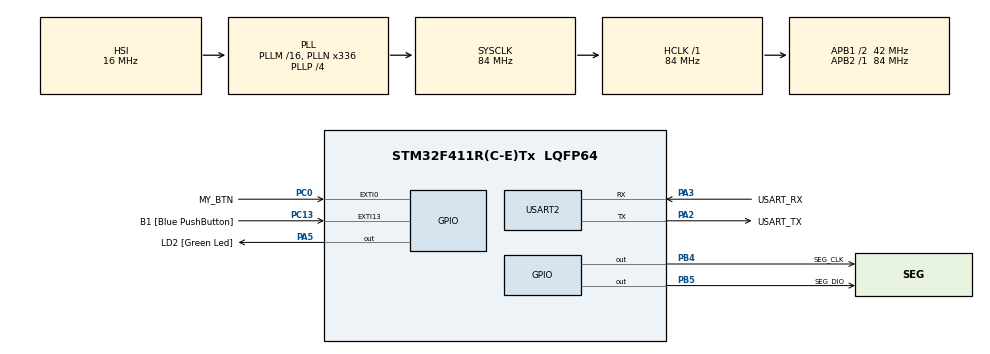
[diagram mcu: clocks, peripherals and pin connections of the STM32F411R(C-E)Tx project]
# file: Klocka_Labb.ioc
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Mcu.Family=STM32F4
Mcu.Name=STM32F411R(C-E)Tx
Mcu.Package=LQFP64
NVIC.EXTI0_IRQn=true\:0\:0\:false\:false\:true\:true\:true\:true
NVIC.PriorityGroup=NVIC_PRIORITYGROUP_0
NVIC.TIM1_BRK_TIM9_IRQn=true\:0\:0\:false\:false\:true\:true\:true\:true
PA13.GPIO_Label=TMS
PA13.Mode=Serial_Wire
PA13.Signal=SYS_JTMS-SWDIO
PA14.GPIO_Label=TCK
PA14.Mode=Serial_Wire
PA14.Signal=SYS_JTCK-SWCLK
PA2.GPIO_Label=USART_TX
PA2.Mode=Asynchronous
PA2.Signal=USART2_TX
PA3.GPIO_Label=USART_RX
PA3.Mode=Asynchronous
PA3.Signal=USART2_RX
PA5.GPIO_Label=LD2 [Green Led]
PA5.Signal=GPIO_Output
PB3.GPIO_Label=SWO
PB3.Signal=SYS_JTDO-SWO
PB4.GPIO_Label=SEG_CLK
PB4.Signal=GPIO_Output
PB5.GPIO_Label=SEG_DIO
PB5.GPIO_ModeDefaultOutputPP=GPIO_MODE_OUTPUT_OD
PB5.GPIO_PuPd=GPIO_NOPULL
PB5.Signal=GPIO_Output
PC0.GPIO_Label=MY_BTN
PC0.GPIO_ModeDefaultEXTI=GPIO_MODE_IT_FALLING
PC0.Signal=GPXTI0
PC13-ANTI_TAMP.GPIO_Label=B1 [Blue PushButton]
PC13-ANTI_TAMP.GPIO_ModeDefaultEXTI=GPIO_MODE_IT_FALLING
PC13-ANTI_TAMP.Signal=GPXTI13
PC14-OSC32_IN.Mode=LSE-External-Oscillator
PC14-OSC32_IN.Signal=RCC_OSC32_IN
PC15-OSC32_OUT.Mode=LSE-External-Oscillator
PC15-OSC32_OUT.Signal=RCC_OSC32_OUT
PH0\ -\ OSC_IN.Mode=HSE-External-Clock-Source
PH0\ -\ OSC_IN.Signal=RCC_OSC_IN
PH1\ -\ OSC_OUT.Mode=HSE-External-Clock-Source
PH1\ -\ OSC_OUT.Signal=RCC_OSC_OUT
ProjectManager.HeapSize=0x200
ProjectManager.StackSize=0x400
ProjectManager.TargetToolchain=STM32CubeIDE
RCC.48MHZClocksFreq_Value=84000000
RCC.AHBFreq_Value=84000000
RCC.APB1CLKDivider=RCC_HCLK_DIV2
RCC.APB1Freq_Value=42000000
RCC.APB1TimFreq_Value=84000000
RCC.APB2Freq_Value=84000000
RCC.APB2TimFreq_Value=84000000
RCC.CortexFreq_Value=84000000
RCC.FLatency-AdvancedSettings=FLASH_LATENCY_2
RCC.HCLKFreq_Value=84000000
RCC.HSE_VALUE=8000000
RCC.HSI_VALUE=16000000
RCC.PLLN=336
RCC.PLLP=RCC_PLLP_DIV4
RCC.SYSCLKFreq_VALUE=84000000
RCC.SYSCLKSource=RCC_SYSCLKSOURCE_PLLCLK
RCC.VCOOutputFreq_Value=336000000
TIM9.Period=1000-1
TIM9.Prescaler=42000-1
USART2.VirtualMode=VM_ASYNC
VP_TIM9_VS_ClockSourceINT.Mode=Internal
board=NUCLEO-F411RE

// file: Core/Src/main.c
/* USER CODE BEGIN Header */
/**
  ******************************************************************************
  * @file           : main.c
  * @brief          : Main program body
  ******************************************************************************
  * @attention
  *
  * Copyright (c) 2023 STMicroelectronics.
  * All rights reserved.
  *
  * This software is licensed under terms that can be found in the LICENSE file
  * in the root directory of this software component.
  * If no LICENSE file comes with this software, it is provided AS-IS.
  *
  ******************************************************************************
  */
/* USER CODE END Header */
#include "main.h"

/* USER CODE BEGIN Includes */
#include "quad_sseg.h"
#include <stdio.h>
/* USER CODE END Includes */

/* USER CODE BEGIN PTD */
UART_HandleTypeDef huart2;
/* USER CODE END PTD */

/* USER CODE BEGIN PD */
#ifdef __GNUC__
#define PUTCHAR_PROTOTYPE int __io_putchar(int ch)
#else
#define PUTCHAR_PROTOTYPE int fputc(int ch, FILE *f)
#endif
PUTCHAR_PROTOTYPE
{
HAL_UART_Transmit(&huart2, (uint8_t *)&ch, 1, HAL_MAX_DELAY);
return ch;
}
/* USER CODE END PD */

TIM_HandleTypeDef htim9;

UART_HandleTypeDef huart2;

/* USER CODE BEGIN PV */
uint16_t button_exti_count;
uint16_t button_debounced_count;
uint16_t flag;
uint32_t last_flank_causing_exti;
uint8_t secondsOnes = 0;
uint8_t secondsTens = 0;
uint8_t minutesOnes = 9;
uint8_t minutesTens = 5;
uint8_t hoursOnes = 3;
uint8_t hoursTens = 2;
uint8_t colonFlicker = 0;
int freq_counter = 0;
/* USER CODE END PV */

void SystemClock_Config(void);
static void MX_GPIO_Init(void);
static void MX_USART2_UART_Init(void);
static void MX_TIM9_Init(void);
/* USER CODE BEGIN PFP */
int uart_get_menu_choice();
void uart_print_menu();
void uart_print_bad_choice();
void clock_mode();
void button_mode();
/* USER CODE END PFP */

/* USER CODE BEGIN 0 */

void HAL_GPIO_EXTI_Callback(uint16_t GPIO_Pin)
{
	button_exti_count++;
	last_flank_causing_exti = HAL_GetTick();
	flag = 1; //set flag to 1 to flag an unhandled_exti
}

void HAL_TIM_PeriodElapsedCallback(TIM_HandleTypeDef *htim){
	freq_counter++;
	colonFlicker = 1;
	if (freq_counter >= 2){
		freq_counter = 0;
		colonFlicker = 0;
		secondsOnes++;
	}

	if (secondsOnes > 9){
		secondsOnes = 0;
		secondsTens++;
	}
	if (secondsTens > 5){
		secondsTens = 0;
		minutesOnes++;
	}
	if (minutesOnes > 9){
		minutesOnes = 0;
		minutesTens++;
	}
	if (minutesTens > 5){
		minutesTens = 0;
		hoursOnes++;
	}
	if(hoursOnes > 9){
		hoursOnes = 0;
		hoursTens++;
	}
	if((hoursOnes == 4) & (hoursTens == 2)){
		hoursOnes = 0;
		hoursTens = 0;
	}
	/*
	secondsTens = 0;
	minuteOnes = 8;
	minutesTens = 5;
	hoursOnes = 2;
	hoursTens = 3;
	*/
}

int uart_get_menu_choice(){
	char str[1] = { '\0'};
	uint16_t str_len = 1;
	HAL_UART_Receive(&huart2, (uint8_t *)str, str_len, HAL_MAX_DELAY);
	int ret = -1;
	sscanf(str, "%d", &ret);
	return ret;
}
void uart_print_menu(){
	printf("Choose an option, bro.\r\n");
	printf("Enter 1 for Clock mode.\r\n");
	printf("Enter 2 for Button mode.\r\n");
}
void uart_print_bad_choice(){
	printf("%s", "Did you fat finger your option? Choose 1 or 2.\r\n");
}
void clock_mode(){
	/* init segment */
	//qs_put_digits(1,2,3,4,0); 1 är första siffran, 2 andra osv, 0 är :
	//mm:ss
	//qs_put_digits(5,9,0,0,0);
	//hh:mm
	//qs_put_digits(2,3,5,6,0);
	/* main loop */
	HAL_TIM_Base_Start_IT(&htim9);
	//HAL_TIM_PeriodElapsedCallback(&htim9);
	//start time
	int b1_pressed;
	while(1){
		/*
		b1_pressed = GPIO_PIN_RESET
						== HAL_GPIO_ReadPin(B1_GPIO_Port, B1_Pin);
				qs_put_digits(b1_pressed ? 1 2, 3, 4, 1,
											: 4, 3, 2, 1, 1 ); dont work :(*/
		b1_pressed = GPIO_PIN_RESET
								== HAL_GPIO_ReadPin(B1_GPIO_Port, B1_Pin);
		if (b1_pressed) {
		    qs_put_digits(hoursTens, hoursOnes, minutesTens, minutesOnes, colonFlicker);
		} else {
		    qs_put_digits(minutesTens, minutesOnes, secondsTens, secondsOnes, colonFlicker);
		}
		//do something

	}
}
void button_mode(){
	/* init segment */
	/* main loop */
	int b1_pressed;
	int pressed;
	while(1){
		//deal with debouncing the button
		//check b1 button (on board, active low)
		uint32_t current_tick = HAL_GetTick();
		b1_pressed = GPIO_PIN_RESET
				== HAL_GPIO_ReadPin(B1_GPIO_Port, B1_Pin);
		qs_put_big_num(b1_pressed ? button_exti_count
									: button_debounced_count);
		if (flag)
		{
			if(current_tick - last_flank_causing_exti >= 50) //50 is value measured by probing
			pressed = GPIO_PIN_RESET
					== HAL_GPIO_ReadPin(MY_BTN_GPIO_Port, MY_BTN_Pin);
			if(pressed)
			{
				button_debounced_count++;
			}
			flag = 0; //makes sure we dont go back into the if case of the flag
			//so we dont need to reset the last_flank variable
		}
	}
}
/* USER CODE END 0 */

int main(void)
{

  /* MCU Configuration--------------------------------------------------------*/

  /* Reset of all peripherals, Initializes the Flash interface and the Systick. */
  HAL_Init();

  /* Configure the system clock */
  SystemClock_Config();

  /* Initialize all configured peripherals */
  MX_GPIO_Init();
  MX_USART2_UART_Init();
  MX_TIM9_Init();

  /* Infinite loop */
  /* USER CODE BEGIN WHILE */
  while (1)
  {
	  /*
	  for (int i = 0; i < 10; i++)
	  {
		  uint32_t dly = 250;
		  qs_put_big_num(i); HAL_Delay(dly);
		  qs_put_digits(1,2,3,4,0); HAL_Delay(dly);
		  qs_put_digits(i,i,i,i,1); HAL_Delay(dly);
	  }
	  */
	  uart_print_menu();
	  int menu_choice = uart_get_menu_choice();
	  switch(menu_choice)
	  {
	  	  case 1: 			  clock_mode();  break;
	  	  case 2:			  button_mode(); break;
	  	  default: uart_print_bad_choice();  break;
	  }
    /* USER CODE END WHILE */

  }
}

void SystemClock_Config(void)
{
  RCC_OscInitTypeDef RCC_OscInitStruct = {0};
  RCC_ClkInitTypeDef RCC_ClkInitStruct = {0};

  /** Configure the main internal regulator output voltage
  */
  __HAL_RCC_PWR_CLK_ENABLE();
  __HAL_PWR_VOLTAGESCALING_CONFIG(PWR_REGULATOR_VOLTAGE_SCALE1);

  /** Initializes the RCC Oscillators according to the specified parameters
  * in the RCC_OscInitTypeDef structure.
  */
  RCC_OscInitStruct.OscillatorType = RCC_OSCILLATORTYPE_HSI;
  RCC_OscInitStruct.HSIState = RCC_HSI_ON;
  RCC_OscInitStruct.HSICalibrationValue = RCC_HSICALIBRATION_DEFAULT;
  RCC_OscInitStruct.PLL.PLLState = RCC_PLL_ON;
  RCC_OscInitStruct.PLL.PLLSource = RCC_PLLSOURCE_HSI;
  RCC_OscInitStruct.PLL.PLLM = 16;
  RCC_OscInitStruct.PLL.PLLN = 336;
  RCC_OscInitStruct.PLL.PLLP = RCC_PLLP_DIV4;
  RCC_OscInitStruct.PLL.PLLQ = 4;
  if (HAL_RCC_OscConfig(&RCC_OscInitStruct) != HAL_OK)
  {
    Error_Handler();
  }

  /** Initializes the CPU, AHB and APB buses clocks
  */
  RCC_ClkInitStruct.ClockType = RCC_CLOCKTYPE_HCLK|RCC_CLOCKTYPE_SYSCLK
                              |RCC_CLOCKTYPE_PCLK1|RCC_CLOCKTYPE_PCLK2;
  RCC_ClkInitStruct.SYSCLKSource = RCC_SYSCLKSOURCE_PLLCLK;
  RCC_ClkInitStruct.AHBCLKDivider = RCC_SYSCLK_DIV1;
  RCC_ClkInitStruct.APB1CLKDivider = RCC_HCLK_DIV2;
  RCC_ClkInitStruct.APB2CLKDivider = RCC_HCLK_DIV1;

  if (HAL_RCC_ClockConfig(&RCC_ClkInitStruct, FLASH_LATENCY_2) != HAL_OK)
  {
    Error_Handler();
  }
}

static void MX_TIM9_Init(void)
{

  TIM_ClockConfigTypeDef sClockSourceConfig = {0};

  htim9.Instance = TIM9;
  htim9.Init.Prescaler = 42000-1;
  htim9.Init.CounterMode = TIM_COUNTERMODE_UP;
  htim9.Init.Period = 1000-1;
  htim9.Init.ClockDivision = TIM_CLOCKDIVISION_DIV1;
  htim9.Init.AutoReloadPreload = TIM_AUTORELOAD_PRELOAD_DISABLE;
  if (HAL_TIM_Base_Init(&htim9) != HAL_OK)
  {
    Error_Handler();
  }
  sClockSourceConfig.ClockSource = TIM_CLOCKSOURCE_INTERNAL;
  if (HAL_TIM_ConfigClockSource(&htim9, &sClockSourceConfig) != HAL_OK)
  {
    Error_Handler();
  }

}

static void MX_USART2_UART_Init(void)
{

  huart2.Instance = USART2;
  huart2.Init.BaudRate = 115200;
  huart2.Init.WordLength = UART_WORDLENGTH_8B;
  huart2.Init.StopBits = UART_STOPBITS_1;
  huart2.Init.Parity = UART_PARITY_NONE;
  huart2.Init.Mode = UART_MODE_TX_RX;
  huart2.Init.HwFlowCtl = UART_HWCONTROL_NONE;
  huart2.Init.OverSampling = UART_OVERSAMPLING_16;
  if (HAL_UART_Init(&huart2) != HAL_OK)
  {
    Error_Handler();
  }

}

static void MX_GPIO_Init(void)
{
  GPIO_InitTypeDef GPIO_InitStruct = {0};

  /* GPIO Ports Clock Enable */
  __HAL_RCC_GPIOC_CLK_ENABLE();
  __HAL_RCC_GPIOH_CLK_ENABLE();
  __HAL_RCC_GPIOA_CLK_ENABLE();
  __HAL_RCC_GPIOB_CLK_ENABLE();

  /*Configure GPIO pin Output Level */
  HAL_GPIO_WritePin(LD2_GPIO_Port, LD2_Pin, GPIO_PIN_RESET);

  /*Configure GPIO pin Output Level */
  HAL_GPIO_WritePin(GPIOB, SEG_CLK_Pin|SEG_DIO_Pin, GPIO_PIN_RESET);

  /*Configure GPIO pins : B1_Pin MY_BTN_Pin */
  GPIO_InitStruct.Pin = B1_Pin|MY_BTN_Pin;
  GPIO_InitStruct.Mode = GPIO_MODE_IT_FALLING;
  GPIO_InitStruct.Pull = GPIO_NOPULL;
  HAL_GPIO_Init(GPIOC, &GPIO_InitStruct);

  /*Configure GPIO pin : LD2_Pin */
  GPIO_InitStruct.Pin = LD2_Pin;
  GPIO_InitStruct.Mode = GPIO_MODE_OUTPUT_PP;
  GPIO_InitStruct.Pull = GPIO_NOPULL;
  GPIO_InitStruct.Speed = GPIO_SPEED_FREQ_LOW;
  HAL_GPIO_Init(LD2_GPIO_Port, &GPIO_InitStruct);

  /*Configure GPIO pin : SEG_CLK_Pin */
  GPIO_InitStruct.Pin = SEG_CLK_Pin;
  GPIO_InitStruct.Mode = GPIO_MODE_OUTPUT_PP;
  GPIO_InitStruct.Pull = GPIO_NOPULL;
  GPIO_InitStruct.Speed = GPIO_SPEED_FREQ_LOW;
  HAL_GPIO_Init(SEG_CLK_GPIO_Port, &GPIO_InitStruct);

  /*Configure GPIO pin : SEG_DIO_Pin */
  GPIO_InitStruct.Pin = SEG_DIO_Pin;
  GPIO_InitStruct.Mode = GPIO_MODE_OUTPUT_OD;
  GPIO_InitStruct.Pull = GPIO_NOPULL;
  GPIO_InitStruct.Speed = GPIO_SPEED_FREQ_LOW;
  HAL_GPIO_Init(SEG_DIO_GPIO_Port, &GPIO_InitStruct);

  /* EXTI interrupt init*/
  HAL_NVIC_SetPriority(EXTI0_IRQn, 0, 0);
  HAL_NVIC_EnableIRQ(EXTI0_IRQn);

}

void Error_Handler(void)
{
  __disable_irq();
  while (1)
  {
  }
}
